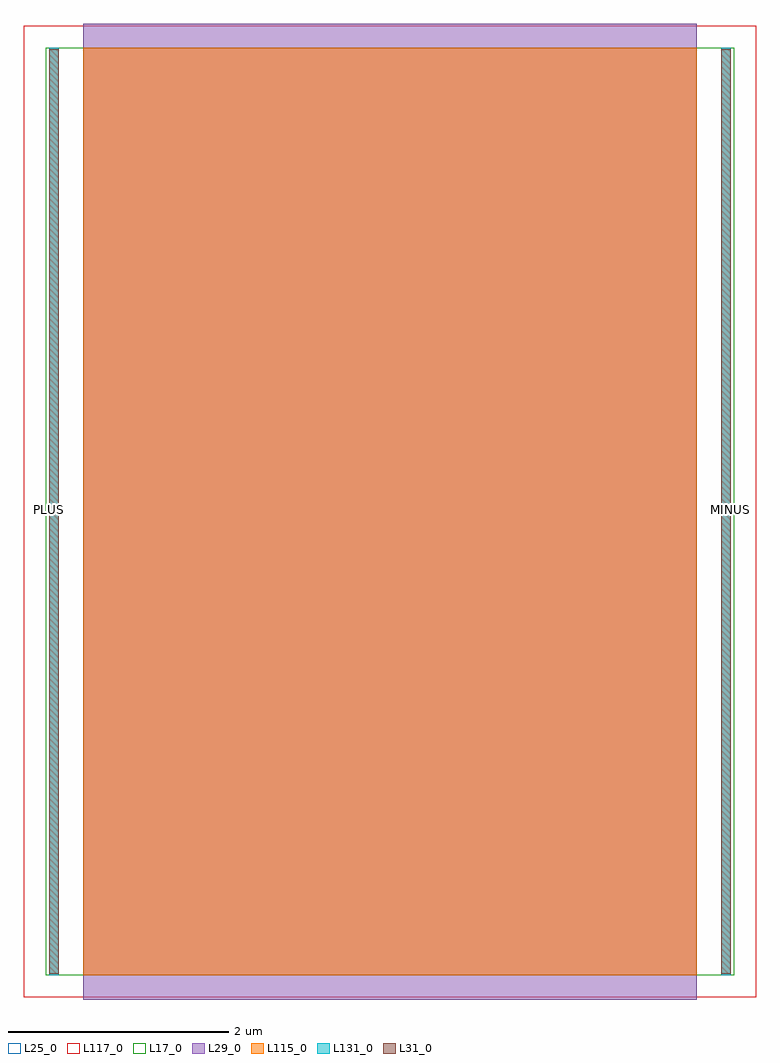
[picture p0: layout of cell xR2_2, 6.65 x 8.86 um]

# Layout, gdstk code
import gdstk
lib = gdstk.Library(unit=1e-6, precision=1e-09)
def R(c, l, rs):  # rectangles x0, y0, x1, y1
    for r in rs: c.add(gdstk.rectangle(r[:2], r[2:], *l))
L17_0 = (17, 0)
L25_0 = (25, 0)
L29_0 = (29, 0)
L31_0 = (31, 0)
L115_0 = (115, 0)
L117_0 = (117, 0)
L131_0 = (131, 0)

xr2_2 = lib.new_cell('xR2_2')
R(xr2_2, L17_0, [(0.2,0.22,6.45,8.64)])
R(xr2_2, L25_0, [(0,0.02,6.65,8.84)])
R(xr2_2, L29_0, [(0.54,0,6.11,8.86)])
R(xr2_2, L31_0, [(0.23,0.235,0.32,8.625), (6.33,0.235,6.42,8.625)])
R(xr2_2, L115_0, [(0.54,0.22,6.11,8.64)])
R(xr2_2, L117_0, [(0,0.02,6.65,8.84)])
R(xr2_2, L131_0, [(0.23,0.22,0.32,8.64), (6.33,0.22,6.42,8.64)])
xr2_2.add(gdstk.Label('PLUS', (0.23,4.445), layer=131, texttype=0))
xr2_2.add(gdstk.Label('MINUS', (6.42,4.445), layer=131, texttype=0))

lib.write_gds('xR2_2.gds')
